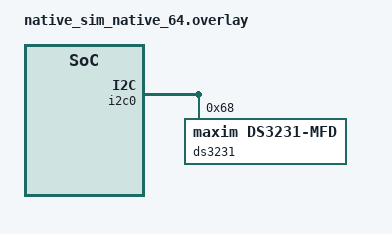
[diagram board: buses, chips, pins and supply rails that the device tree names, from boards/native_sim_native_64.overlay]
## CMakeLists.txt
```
# Copyright The Zephyr Project Contributors
# SPDX-License-Identifier: Apache-2.0

cmake_minimum_required(VERSION 3.20.0)
find_package(Zephyr REQUIRED HINTS $ENV{ZEPHYR_BASE})
project(ds3231)

target_sources(app PRIVATE
  src/ds3231_emul.c
  src/main.c
)
```

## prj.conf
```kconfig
CONFIG_ZTEST=y
CONFIG_EMUL=y
CONFIG_I2C=y
CONFIG_I2C_EMUL=y
CONFIG_MFD=y
CONFIG_SENSOR=y
CONFIG_SENSOR_ASYNC_API=y
```

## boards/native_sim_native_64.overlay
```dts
/*
 * Copyright The Zephyr Project Contributors
 * SPDX-License-Identifier: Apache-2.0
 */

&i2c0 {
	status = "okay";

	ds3231: ds3231@68 {
		compatible = "maxim,ds3231-mfd";
		reg = <0x68>;

		ds3231_sensor: sensor {
			compatible = "maxim,ds3231-sensor";
		};
	};
};
```

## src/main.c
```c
/*
 * Copyright The Zephyr Project Contributors
 * SPDX-License-Identifier: Apache-2.0
 */

#include <zephyr/device.h>
#include <zephyr/devicetree.h>
#include <zephyr/drivers/emul.h>
#include <zephyr/drivers/sensor.h>
#include <zephyr/rtio/rtio.h>
#include <zephyr/sys/util.h>
#include <zephyr/ztest.h>

#include "ds3231_emul.h"

#define DS3231_MFD    DT_NODELABEL(ds3231)
#define DS3231_SENSOR DT_NODELABEL(ds3231_sensor)

struct temp_vector {
	uint8_t msb;
	uint8_t lsb;
	int64_t micro_c;
};

/* Register values per the DS3231 datasheet, temperature registers 11h-12h */
static const struct temp_vector vectors[] = {
	{0x00, 0x00, 0},
	{0x19, 0x40, 25250000},
	{0x1F, 0xC0, 31750000},
	{0x20, 0x00, 32000000},
	{0x41, 0x00, 65000000},
	{0x55, 0x80, 85500000},
	{0x7F, 0xC0, 127750000},
	{0xFF, 0xC0, -250000},
	{0xFF, 0x00, -1000000},
	{0xE7, 0x40, -24750000},
	{0xD8, 0x00, -40000000},
	{0x80, 0x00, -128000000},
};

static const struct device *const sensor_dev = DEVICE_DT_GET(DS3231_SENSOR);
static const struct emul *const emul = EMUL_DT_GET(DS3231_MFD);

static void *ds3231_setup(void)
{
	zassert_true(device_is_ready(sensor_dev));
	zassert_not_null(emul);

	return NULL;
}

static void ds3231_before(void *fixture)
{
	ARG_UNUSED(fixture);
	ds3231_emul_set_read_failure(emul, false);
	ds3231_emul_set_temp_regs(emul, 0x00, 0x00);
}

ZTEST_SUITE(ds3231, NULL, ds3231_setup, ds3231_before, NULL, NULL);

static int64_t fetch_micro_c(void)
{
	struct sensor_value val;

	zassert_ok(sensor_sample_fetch(sensor_dev));
	zassert_ok(sensor_channel_get(sensor_dev, SENSOR_CHAN_AMBIENT_TEMP, &val));
	zassert_true(((val.val1 >= 0) && (val.val2 >= 0)) || ((val.val1 <= 0) && (val.val2 <= 0)),
		     "val1 (%d) and val2 (%d) must have the same sign", val.val1, val.val2);

	return sensor_value_to_micro(&val);
}

ZTEST(ds3231, test_fetch_get_temperature)
{
	ARRAY_FOR_EACH_PTR(vectors, v) {
		ds3231_emul_set_temp_regs(emul, v->msb, v->lsb);
		zassert_equal(fetch_micro_c(), v->micro_c, "0x%02x/0x%02x", v->msb, v->lsb);
	}
}

ZTEST(ds3231, test_fetch_error_keeps_last_sample)
{
	struct sensor_value val;

	ds3231_emul_set_temp_regs(emul, 0x19, 0x40);
	zassert_equal(fetch_micro_c(), 25250000);

	ds3231_emul_set_read_failure(emul, true);
	zassert_not_ok(sensor_sample_fetch(sensor_dev));
	zassert_ok(sensor_channel_get(sensor_dev, SENSOR_CHAN_AMBIENT_TEMP, &val));
	zassert_equal(sensor_value_to_micro(&val), 25250000);
}

SENSOR_DT_READ_IODEV(ds3231_iodev, DS3231_SENSOR, {SENSOR_CHAN_AMBIENT_TEMP, 0});
/*
 * The completion is posted before the work queue thread frees its SQE, so back-to-back reads
 * need a second SQE while the previous one is still being released.
 */
RTIO_DEFINE(ds3231_rtio, 2, 2);

ZTEST(ds3231, test_read_decode_temperature)
{
	const struct sensor_chan_spec chan = {SENSOR_CHAN_AMBIENT_TEMP, 0};
	const struct sensor_decoder_api *decoder;
	struct sensor_q31_data data;
	uint8_t buf[32];

	zassert_ok(sensor_get_decoder(sensor_dev, &decoder));

	ARRAY_FOR_EACH_PTR(vectors, v) {
		uint32_t fit = 0;
		int64_t micro_c;

		ds3231_emul_set_temp_regs(emul, v->msb, v->lsb);
		zassert_ok(sensor_read(&ds3231_iodev, &ds3231_rtio, buf, sizeof(buf)));
		zassert_equal(decoder->decode(buf, chan, &fit, 1, &data), 1);

		micro_c = ((int64_t)data.readings[0].temperature * 1000000) >> (31 - data.shift);
		zassert_equal(micro_c, v->micro_c, "0x%02x/0x%02x", v->msb, v->lsb);
	}
}
```

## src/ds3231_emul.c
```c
/*
 * Copyright The Zephyr Project Contributors
 * SPDX-License-Identifier: Apache-2.0
 */

#define DT_DRV_COMPAT maxim_ds3231_mfd

#include <errno.h>
#include <string.h>

#include <zephyr/device.h>
#include <zephyr/drivers/emul.h>
#include <zephyr/drivers/i2c.h>
#include <zephyr/drivers/i2c_emul.h>

#include "ds3231_emul.h"

#define DS3231_EMUL_REG_TEMP_MSB 0x11U
#define DS3231_EMUL_REG_TEMP_LSB 0x12U
#define DS3231_EMUL_NUM_REGS     0x13U

struct ds3231_emul_data {
	uint8_t regs[DS3231_EMUL_NUM_REGS];
	bool read_failure;
};

void ds3231_emul_set_temp_regs(const struct emul *target, uint8_t msb, uint8_t lsb)
{
	struct ds3231_emul_data *data = target->data;

	data->regs[DS3231_EMUL_REG_TEMP_MSB] = msb;
	data->regs[DS3231_EMUL_REG_TEMP_LSB] = lsb;
}

void ds3231_emul_set_read_failure(const struct emul *target, bool fail)
{
	struct ds3231_emul_data *data = target->data;

	data->read_failure = fail;
}

static int ds3231_emul_transfer(const struct emul *target, struct i2c_msg *msgs, int num_msgs,
				int addr)
{
	struct ds3231_emul_data *data = target->data;
	uint8_t reg;

	ARG_UNUSED(addr);

	/* Only register reads are emulated: write the start register, then read */
	if ((num_msgs != 2) || ((msgs[0].flags & I2C_MSG_READ) != 0U) || (msgs[0].len != 1U) ||
	    ((msgs[1].flags & I2C_MSG_READ) == 0U)) {
		return -EIO;
	}

	reg = msgs[0].buf[0];
	if ((reg >= DS3231_EMUL_NUM_REGS) || (msgs[1].len > (DS3231_EMUL_NUM_REGS - reg))) {
		return -EIO;
	}

	if (data->read_failure) {
		return -EIO;
	}

	memcpy(msgs[1].buf, &data->regs[reg], msgs[1].len);

	return 0;
}

static int ds3231_emul_init(const struct emul *target, const struct device *parent)
{
	struct ds3231_emul_data *data = target->data;

	ARG_UNUSED(parent);
	memset(data, 0, sizeof(*data));

	return 0;
}

static const struct i2c_emul_api ds3231_emul_api = {
	.transfer = ds3231_emul_transfer,
};

#define DS3231_EMUL_DEFINE(inst)                                                                   \
	static struct ds3231_emul_data ds3231_emul_data_##inst;                                    \
	EMUL_DT_INST_DEFINE(inst, ds3231_emul_init, &ds3231_emul_data_##inst, NULL,                \
			    &ds3231_emul_api, NULL)

DT_INST_FOREACH_STATUS_OKAY(DS3231_EMUL_DEFINE)
```

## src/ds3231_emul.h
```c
/*
 * Copyright The Zephyr Project Contributors
 * SPDX-License-Identifier: Apache-2.0
 */

#ifndef ZEPHYR_TESTS_DRIVERS_SENSOR_DS3231_EMUL_H_
#define ZEPHYR_TESTS_DRIVERS_SENSOR_DS3231_EMUL_H_

#include <stdbool.h>
#include <stdint.h>

#include <zephyr/drivers/emul.h>

void ds3231_emul_set_temp_regs(const struct emul *target, uint8_t msb, uint8_t lsb);
void ds3231_emul_set_read_failure(const struct emul *target, bool fail);

#endif /* ZEPHYR_TESTS_DRIVERS_SENSOR_DS3231_EMUL_H_ */
```
